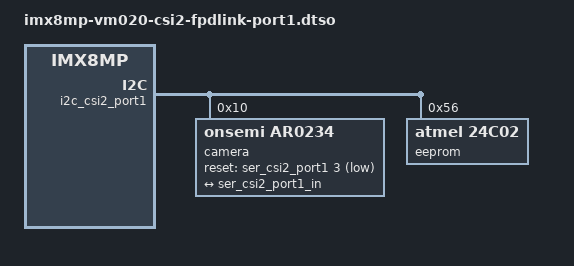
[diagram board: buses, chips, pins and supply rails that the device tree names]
// SPDX-License-Identifier: (GPL-2.0+ OR MIT)
/*
 * Copyright (C) 2023 PHYTEC Messtechnik GmbH
 * Author: Stefan Riedmüller <s.riedmueller@phytec.de>
 */

/dts-v1/;
/plugin/;

#include "imx8mp-csi2-fpdlink-port1.dtsi"
#include <dt-bindings/gpio/gpio.h>

/ {
	compatible = "phytec,imx8mp-phyboard-pollux";
};

&i2c_csi2_port1 {
	camera@10 {
		#address-cells = <0x1>;
		#size-cells = <0x0>;

		compatible = "onsemi,ar0234";
		reg = <0x10>;
		clocks = <&ser_csi2_port1>;
		clock-names = "ext";
		isp-bus-info = "csi1";

		reset-gpios = <&ser_csi2_port1 3 GPIO_ACTIVE_LOW>;

		port@0 {
			reg = <0>;

			vm020_csi2_port1_ep: endpoint {
				remote-endpoint = <&ser_csi2_port1_in>;
				bus-type = <4>; /* MIPI CSI-2 D-PHY */
				link-frequencies = /bits/ 64 <288000000>;
				data-lanes = <1 2 3 4>;
				clock-lanes = <0>;
				clock-noncontinuous = <1>;
			};
		};
	};

	eeprom@56 {
		compatible = "atmel,24c02";
		reg = <0x56>;
		pagesize = <16>;
	};
};

&ser_csi2_port1 {
	clock-frequency = <26666666>;
};

&ser_csi2_port1_in {
	remote-endpoint = <&vm020_csi2_port1_ep>;
	data-lanes = <1 2 3 4>;
};
